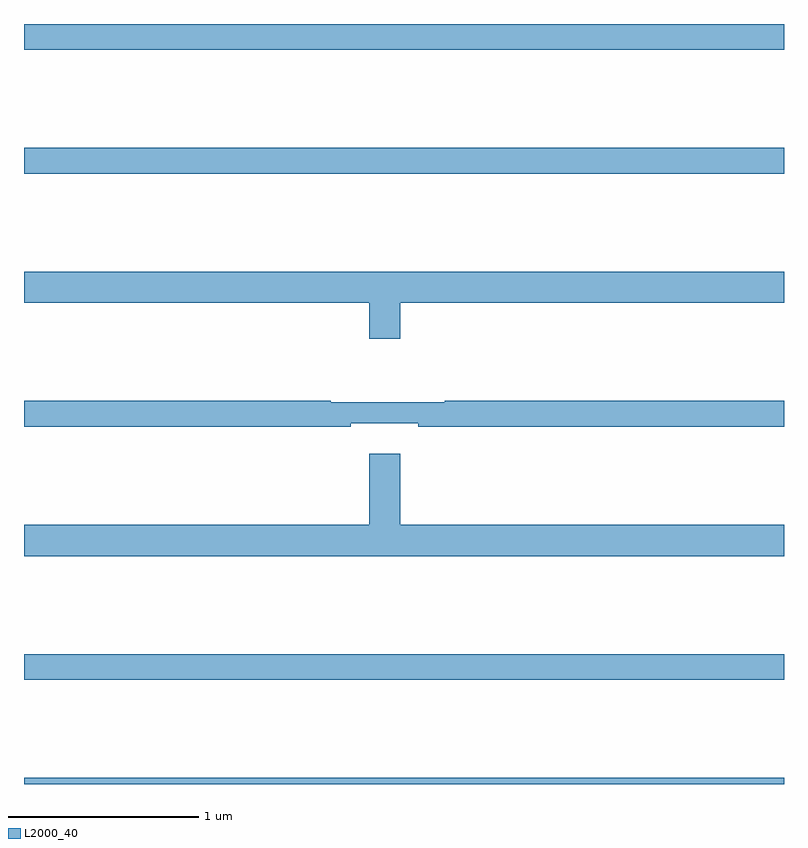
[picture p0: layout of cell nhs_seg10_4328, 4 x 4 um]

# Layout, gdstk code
import gdstk
lib = gdstk.Library(unit=1e-6, precision=1e-09)
def R(c, l, rs):  # rectangles x0, y0, x1, y1
    for r in rs: c.add(gdstk.rectangle(r[:2], r[2:], *l))
def P(c, l, *ps):  # polygons
    for p in ps: c.add(gdstk.Polygon(p, *l))
L2000_40 = (2000, 40)

nhs_seg10_4328 = lib.new_cell('nhs_seg10_4328')
R(nhs_seg10_4328, L2000_40, [(355,1248.5,359,1248.532), (355,1249.048,359,1249.184), (355,1251.712,359,1251.848), (355,1252.364,359,1252.5)])
P(nhs_seg10_4328, L2000_40, [(356.98,1251.032),(359,1251.032),(359,1251.196),(355,1251.196),(355,1251.032),(356.816,1251.032),(356.816,1250.844),(356.98,1250.844)],
  [(356.72,1250.399),(357.076,1250.399),(357.076,1250.38),(359,1250.38),(359,1250.516),(357.215,1250.516),(357.215,1250.509),(356.615,1250.509),(356.615,1250.516),(355,1250.516),(355,1250.38),(356.72,1250.38)],
  [(359,1249.864),(356.98,1249.864),(356.98,1250.239),(356.816,1250.239),(356.816,1249.864),(355,1249.864),(355,1249.7),(359,1249.7)])

lib.write_gds('nhs_seg10_4328.gds')
